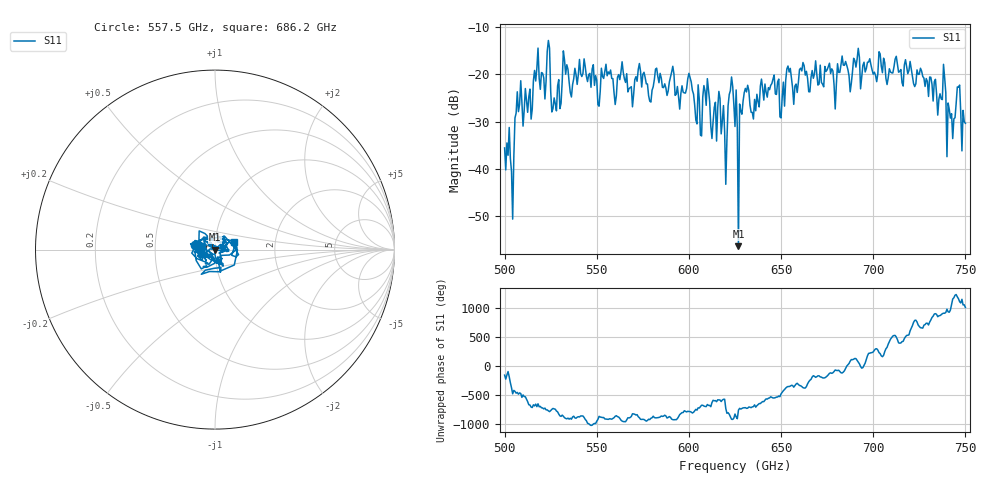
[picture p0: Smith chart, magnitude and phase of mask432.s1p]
!Created with skrf (http://scikit-rf.org).
# GHz S MA R 50.0
!freq magS11 angS11
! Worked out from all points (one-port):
!   401 points, 500 GHz to 750 GHz, reference 50 ohm
!   lowest |S11| = -56.5 dB at 626.9 GHz (marker M1), VSWR 1.00, Z = 50.1 - j0.0982 ohm
!   |S11| at or under -10 dB: start of sweep to end of sweep
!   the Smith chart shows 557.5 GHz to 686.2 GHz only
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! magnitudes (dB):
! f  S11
! 500 GHz  -35.6
! 504.4 GHz  -50.7
! 507.5 GHz  -27.9
! 513.8 GHz  -23.1
! 516.9 GHz  -21.4
! 523.8 GHz  -12.8
! 526.9 GHz  -25.0
! 531.2 GHz  -21.5
! 562.5 GHz  -21.1
! 579.4 GHz  -25.9
! 590.6 GHz  -19.5
! 593.8 GHz  -22.6
! 600.6 GHz  -20.6
! 605.6 GHz  -25.3
! 609.4 GHz  -26.5
! 619.4 GHz  -32.1
! 622.5 GHz  -23.4
! 625 GHz  -31.0
! 625.6 GHz  -23.3
! 626.9 GHz  -56.5
! 631.2 GHz  -23.7
! 635 GHz  -29.5
! 656.2 GHz  -22.8
! 687.5 GHz  -23.7
! 718.8 GHz  -19.8
! 741.2 GHz  -27.4
! 746.2 GHz  -22.7
! 750 GHz  -30.4
